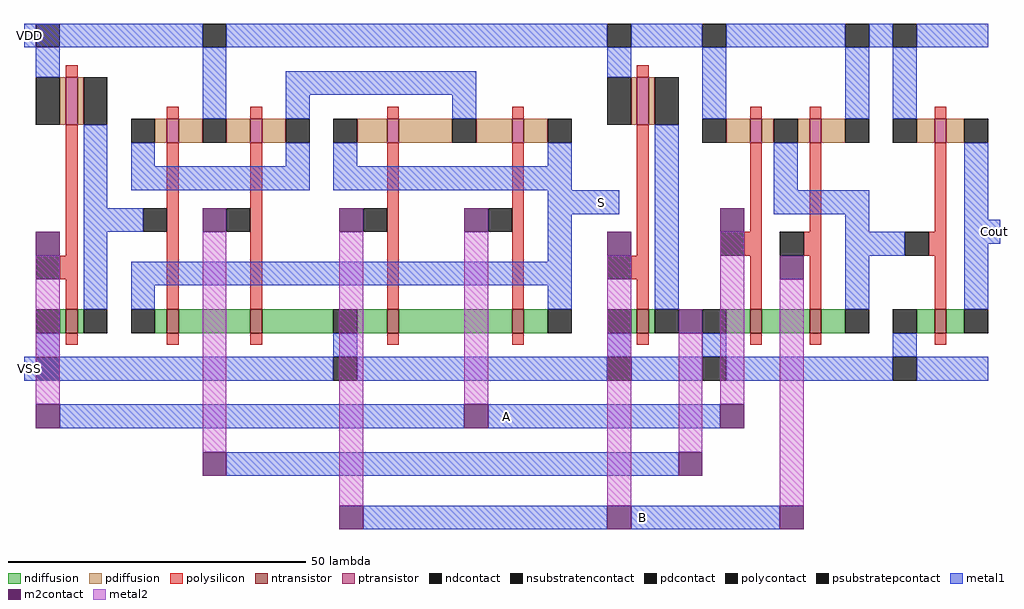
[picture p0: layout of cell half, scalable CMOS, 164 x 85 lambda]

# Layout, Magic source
magic
tech scmos
<< metal1 >>
rect -16 56 -10 60
rect 76 28 82 32
rect 142 23 148 27
rect -16 0 -10 4
rect 62 -8 101 -4
rect 86 -25 111 -21
<< m2contact >>
rect 101 25 105 29
rect 111 17 115 21
rect 58 -8 62 -4
rect 101 -8 105 -4
rect 82 -25 86 -21
rect 111 -25 115 -21
<< metal2 >>
rect 101 -4 105 25
rect 111 -21 115 17
use 2AND  2AND_0
transform 1 0 94 0 1 0
box 2 0 52 60
use 2XOR  2XOR_0
transform 1 0 2 0 1 0
box -18 -25 96 60
<< labels >>
rlabel metal1 81 30 81 30 1 S
rlabel metal1 147 25 147 25 1 Cout
rlabel metal1 65 -6 65 -6 1 A
rlabel metal1 -15 58 -15 58 1 VDD
rlabel metal1 -15 2 -15 2 1 VSS
rlabel metal1 88 -23 88 -23 1 B
<< end >>

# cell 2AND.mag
magic
tech scmos
<< ntransistor >>
rect 12 8 14 12
rect 22 8 24 12
rect 43 8 45 12
<< ptransistor >>
rect 12 40 14 44
rect 22 40 24 44
rect 43 40 45 44
<< ndiffusion >>
rect 8 8 12 12
rect 14 8 22 12
rect 24 8 28 12
rect 40 8 43 12
rect 45 8 48 12
<< pdiffusion >>
rect 8 40 12 44
rect 14 40 16 44
rect 20 40 22 44
rect 24 40 28 44
rect 40 40 43 44
rect 45 40 48 44
<< ndcontact >>
rect 4 8 8 12
rect 28 8 32 12
rect 36 8 40 12
rect 48 8 52 12
<< pdcontact >>
rect 4 40 8 44
rect 16 40 20 44
rect 28 40 32 44
rect 36 40 40 44
rect 48 40 52 44
<< psubstratepcontact >>
rect 4 0 8 4
rect 36 0 40 4
<< nsubstratencontact >>
rect 4 56 8 60
rect 28 56 32 60
rect 36 56 40 60
<< polysilicon >>
rect 12 44 14 46
rect 22 44 24 46
rect 43 44 45 46
rect 12 25 14 40
rect 22 25 24 40
rect 43 25 45 40
rect 11 21 14 25
rect 21 21 24 25
rect 42 21 45 25
rect 12 12 14 21
rect 22 12 24 21
rect 43 12 45 21
rect 12 6 14 8
rect 22 6 24 8
rect 43 6 45 8
<< polycontact >>
rect 7 21 11 25
rect 17 21 21 25
rect 38 21 42 25
<< metal1 >>
rect 2 56 4 60
rect 8 56 28 60
rect 32 56 36 60
rect 40 56 52 60
rect 4 44 8 56
rect 28 44 32 56
rect 36 44 40 56
rect 16 32 20 40
rect 16 28 32 32
rect 28 25 32 28
rect 28 21 38 25
rect 28 12 32 21
rect 48 12 52 40
rect 4 4 8 8
rect 36 4 40 8
rect 2 0 4 4
rect 8 0 36 4
rect 40 0 52 4
<< labels >>
rlabel polycontact 19 23 19 23 1 B
rlabel polycontact 9 23 9 23 1 A
rlabel psubstratepcontact 6 2 6 2 1 VSS
rlabel polycontact 40 23 40 23 1 INV
rlabel metal1 50 25 50 25 1 Y
rlabel psubstratepcontact 38 2 38 2 1 VSS
rlabel nsubstratencontact 38 58 38 58 1 VDD
rlabel nsubstratencontact 30 58 30 58 1 VDD
rlabel nsubstratencontact 6 58 6 58 1 VDD
<< end >>

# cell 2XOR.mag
magic
tech scmos
<< ntransistor >>
rect 6 8 8 12
rect 20 8 22 12
rect 43 8 45 12
rect 64 8 66 12
<< ptransistor >>
rect 6 40 8 44
rect 20 40 22 44
rect 43 40 45 44
rect 64 40 66 44
<< ndiffusion >>
rect 4 8 6 12
rect 8 8 20 12
rect 22 8 34 12
rect 38 8 43 12
rect 45 8 64 12
rect 66 8 70 12
<< pdiffusion >>
rect 4 40 6 44
rect 8 40 12 44
rect 16 40 20 44
rect 22 40 26 44
rect 38 40 43 44
rect 45 40 54 44
rect 58 40 64 44
rect 66 40 70 44
<< ndcontact >>
rect 0 8 4 12
rect 34 8 38 12
rect 70 8 74 12
<< pdcontact >>
rect 0 40 4 44
rect 12 40 16 44
rect 26 40 30 44
rect 34 40 38 44
rect 54 40 58 44
rect 70 40 74 44
<< psubstratepcontact >>
rect 34 0 38 4
<< nsubstratencontact >>
rect 12 56 16 60
<< polysilicon >>
rect 6 44 8 46
rect 20 44 22 46
rect 43 44 45 46
rect 64 44 66 46
rect 6 12 8 40
rect 20 12 22 40
rect 43 12 45 40
rect 64 12 66 40
rect 6 6 8 8
rect 20 6 22 8
rect 43 6 45 8
rect 64 6 66 8
<< polycontact >>
rect 2 25 6 29
rect 16 25 20 29
rect 39 25 43 29
rect 60 25 64 29
<< metal1 >>
rect -18 56 -12 60
rect -2 56 12 60
rect 16 56 80 60
rect 12 44 16 56
rect 26 48 58 52
rect 26 44 30 48
rect 54 44 58 48
rect 0 36 4 40
rect 26 36 30 40
rect 0 32 30 36
rect 34 36 38 40
rect 70 36 74 40
rect 34 32 74 36
rect -4 25 2 29
rect 70 28 82 32
rect 70 20 74 28
rect 0 16 74 20
rect 0 12 4 16
rect 70 12 74 16
rect 34 4 38 8
rect -18 0 -12 4
rect -2 0 34 4
rect 38 0 78 4
rect -12 -8 56 -4
rect 16 -16 92 -12
rect 39 -25 80 -21
<< m2contact >>
rect 12 25 16 29
rect 35 25 39 29
rect 56 25 60 29
rect -16 21 -12 25
rect 80 21 84 25
rect 92 8 96 12
rect -16 -8 -12 -4
rect 56 -8 60 -4
rect 12 -16 16 -12
rect 92 -16 96 -12
rect 35 -25 39 -21
rect 80 -25 84 -21
<< metal2 >>
rect -16 -4 -12 21
rect 12 -12 16 25
rect 35 -21 39 25
rect 56 -4 60 25
rect 80 -21 84 21
rect 92 -12 96 8
use INV  INV_1 ~/CMPE480/hw3
transform 1 0 -13 0 1 -1
box -5 1 11 61
use INV  INV_2
transform 1 0 83 0 1 -1
box -5 1 11 61
<< labels >>
rlabel nsubstratencontact 14 58 14 58 5 VDD
rlabel polycontact 4 27 4 27 3 A
rlabel polycontact 18 27 18 27 1 B
rlabel metal1 -17 58 -17 58 1 VDD
rlabel metal1 -17 2 -17 2 1 VSS
rlabel psubstratepcontact 36 2 36 2 1 VSS
rlabel polycontact 41 27 41 27 1 B
rlabel polycontact 62 27 62 27 1 A
rlabel metal1 80 30 80 30 1 Y
<< end >>

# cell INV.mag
magic
tech scmos
<< ntransistor >>
rect 2 9 4 13
<< ptransistor >>
rect 2 44 4 52
<< ndiffusion >>
rect 1 9 2 13
rect 4 9 5 13
<< pdiffusion >>
rect 1 44 2 52
rect 4 44 5 52
<< ndcontact >>
rect -3 9 1 13
rect 5 9 9 13
<< pdcontact >>
rect -3 44 1 52
rect 5 44 9 52
<< psubstratepcontact >>
rect -3 1 1 5
<< nsubstratencontact >>
rect -3 57 1 61
<< polysilicon >>
rect 2 52 4 54
rect 2 22 4 44
rect 1 18 4 22
rect 2 13 4 18
rect 2 7 4 9
<< polycontact >>
rect -3 18 1 22
<< metal1 >>
rect -5 57 -3 61
rect 1 57 11 61
rect -3 52 1 57
rect 5 13 9 44
rect -3 5 1 9
rect -5 1 -3 5
rect 1 1 11 5
<< labels >>
rlabel psubstratepcontact -1 3 -1 3 1 VSS
rlabel polycontact -1 20 -1 20 1 A
rlabel metal1 7 25 7 25 1 Y
rlabel nsubstratencontact -1 59 -1 59 1 VDD
<< end >>
